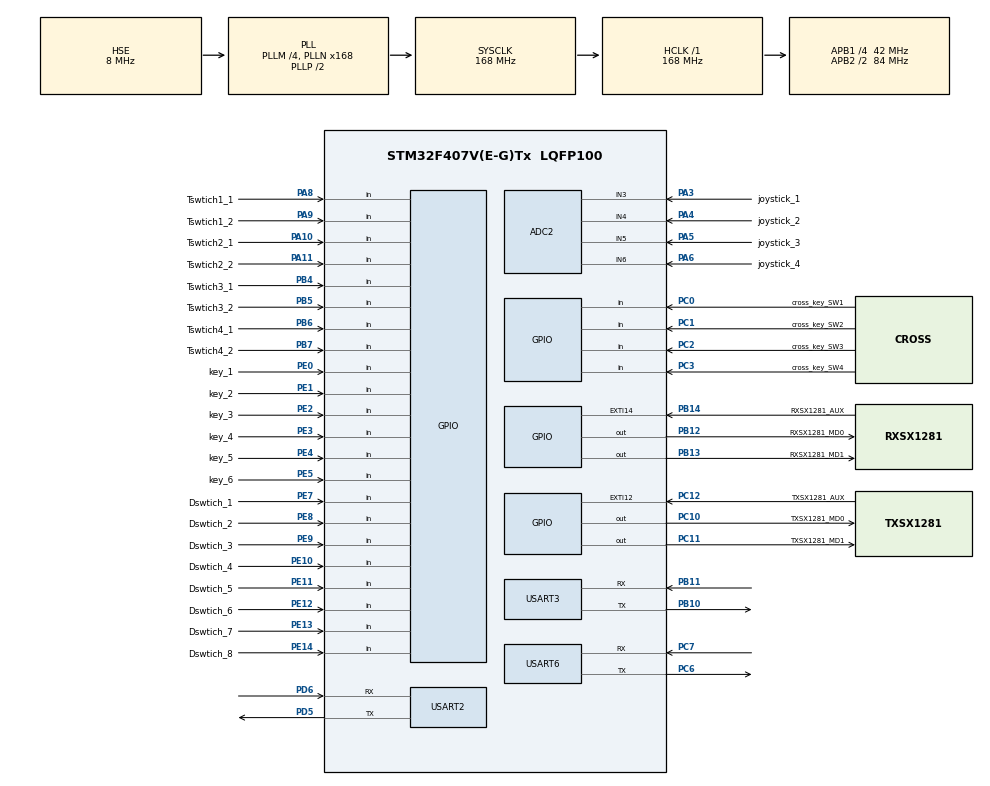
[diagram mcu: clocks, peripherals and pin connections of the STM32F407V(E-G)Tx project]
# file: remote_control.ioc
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ADC2.Channel-1\#ChannelRegularConversion=ADC_CHANNEL_3
ADC2.Channel-2\#ChannelRegularConversion=ADC_CHANNEL_4
ADC2.Channel-3\#ChannelRegularConversion=ADC_CHANNEL_5
ADC2.Channel-4\#ChannelRegularConversion=ADC_CHANNEL_6
ADC2.ClockPrescaler=ADC_CLOCK_SYNC_PCLK_DIV4
ADC2.DMAContinuousRequests=ENABLE
ADC2.ExternalTrigConv=ADC_EXTERNALTRIGCONV_T3_TRGO
ADC2.NbrOfConversion=4
ADC2.NbrOfConversionFlag=1
ADC2.Rank-1\#ChannelRegularConversion=1
ADC2.Rank-2\#ChannelRegularConversion=2
ADC2.Rank-3\#ChannelRegularConversion=3
ADC2.Rank-4\#ChannelRegularConversion=4
ADC2.SamplingTime-1\#ChannelRegularConversion=ADC_SAMPLETIME_56CYCLES
ADC2.SamplingTime-2\#ChannelRegularConversion=ADC_SAMPLETIME_56CYCLES
ADC2.SamplingTime-3\#ChannelRegularConversion=ADC_SAMPLETIME_56CYCLES
ADC2.SamplingTime-4\#ChannelRegularConversion=ADC_SAMPLETIME_56CYCLES
ADC2.ScanConvMode=ENABLE
Dma.ADC2.4.Direction=DMA_PERIPH_TO_MEMORY
Dma.ADC2.4.FIFOMode=DMA_FIFOMODE_DISABLE
Dma.ADC2.4.Instance=DMA2_Stream2
Dma.ADC2.4.MemDataAlignment=DMA_MDATAALIGN_HALFWORD
Dma.ADC2.4.MemInc=DMA_MINC_ENABLE
Dma.ADC2.4.Mode=DMA_CIRCULAR
Dma.ADC2.4.PeriphDataAlignment=DMA_PDATAALIGN_HALFWORD
Dma.ADC2.4.PeriphInc=DMA_PINC_DISABLE
Dma.ADC2.4.Priority=DMA_PRIORITY_LOW
Dma.Request0=USART2_RX
Dma.Request1=USART2_TX
Dma.Request2=USART3_RX
Dma.Request3=USART3_TX
Dma.Request4=ADC2
Dma.Request5=USART6_RX
Dma.Request6=USART6_TX
Dma.USART2_RX.0.Direction=DMA_PERIPH_TO_MEMORY
Dma.USART2_RX.0.FIFOMode=DMA_FIFOMODE_DISABLE
Dma.USART2_RX.0.Instance=DMA1_Stream5
Dma.USART2_RX.0.MemDataAlignment=DMA_MDATAALIGN_BYTE
Dma.USART2_RX.0.MemInc=DMA_MINC_ENABLE
Dma.USART2_RX.0.Mode=DMA_NORMAL
Dma.USART2_RX.0.PeriphDataAlignment=DMA_PDATAALIGN_BYTE
Dma.USART2_RX.0.PeriphInc=DMA_PINC_DISABLE
Dma.USART2_RX.0.Priority=DMA_PRIORITY_LOW
Dma.USART2_TX.1.Direction=DMA_MEMORY_TO_PERIPH
Dma.USART2_TX.1.FIFOMode=DMA_FIFOMODE_DISABLE
Dma.USART2_TX.1.Instance=DMA1_Stream6
Dma.USART2_TX.1.MemDataAlignment=DMA_MDATAALIGN_BYTE
Dma.USART2_TX.1.MemInc=DMA_MINC_ENABLE
Dma.USART2_TX.1.Mode=DMA_NORMAL
Dma.USART2_TX.1.PeriphDataAlignment=DMA_PDATAALIGN_BYTE
Dma.USART2_TX.1.PeriphInc=DMA_PINC_DISABLE
Dma.USART2_TX.1.Priority=DMA_PRIORITY_LOW
Dma.USART3_RX.2.Direction=DMA_PERIPH_TO_MEMORY
Dma.USART3_RX.2.FIFOMode=DMA_FIFOMODE_DISABLE
Dma.USART3_RX.2.Instance=DMA1_Stream1
Dma.USART3_RX.2.MemDataAlignment=DMA_MDATAALIGN_BYTE
Dma.USART3_RX.2.MemInc=DMA_MINC_ENABLE
Dma.USART3_RX.2.Mode=DMA_NORMAL
Dma.USART3_RX.2.PeriphDataAlignment=DMA_PDATAALIGN_BYTE
Dma.USART3_RX.2.PeriphInc=DMA_PINC_DISABLE
Dma.USART3_RX.2.Priority=DMA_PRIORITY_LOW
Dma.USART3_TX.3.Direction=DMA_MEMORY_TO_PERIPH
Dma.USART3_TX.3.FIFOMode=DMA_FIFOMODE_DISABLE
Dma.USART3_TX.3.Instance=DMA1_Stream3
Dma.USART3_TX.3.MemDataAlignment=DMA_MDATAALIGN_BYTE
Dma.USART3_TX.3.MemInc=DMA_MINC_ENABLE
Dma.USART3_TX.3.Mode=DMA_NORMAL
Dma.USART3_TX.3.PeriphDataAlignment=DMA_PDATAALIGN_BYTE
Dma.USART3_TX.3.PeriphInc=DMA_PINC_DISABLE
Dma.USART3_TX.3.Priority=DMA_PRIORITY_LOW
Dma.USART6_RX.5.Direction=DMA_PERIPH_TO_MEMORY
Dma.USART6_RX.5.FIFOMode=DMA_FIFOMODE_DISABLE
Dma.USART6_RX.5.Instance=DMA2_Stream1
Dma.USART6_RX.5.MemDataAlignment=DMA_MDATAALIGN_BYTE
Dma.USART6_RX.5.MemInc=DMA_MINC_ENABLE
Dma.USART6_RX.5.Mode=DMA_NORMAL
Dma.USART6_RX.5.PeriphDataAlignment=DMA_PDATAALIGN_BYTE
Dma.USART6_RX.5.PeriphInc=DMA_PINC_DISABLE
Dma.USART6_RX.5.Priority=DMA_PRIORITY_LOW
Dma.USART6_TX.6.Direction=DMA_MEMORY_TO_PERIPH
Dma.USART6_TX.6.FIFOMode=DMA_FIFOMODE_DISABLE
Dma.USART6_TX.6.Instance=DMA2_Stream6
Dma.USART6_TX.6.MemDataAlignment=DMA_MDATAALIGN_BYTE
Dma.USART6_TX.6.MemInc=DMA_MINC_ENABLE
Dma.USART6_TX.6.Mode=DMA_NORMAL
Dma.USART6_TX.6.PeriphDataAlignment=DMA_PDATAALIGN_BYTE
Dma.USART6_TX.6.PeriphInc=DMA_PINC_DISABLE
Dma.USART6_TX.6.Priority=DMA_PRIORITY_LOW
FREERTOS.Tasks01=defaultTask,24,128,StartDefaultTask,Default,NULL,Dynamic,NULL,NULL;Display,8,128,Display_task,Default,NULL,Dynamic,NULL,NULL;Button,8,128,Button_task,Default,NULL,Dynamic,NULL,NULL;RXComunication,8,128,RXComunication_task,Default,NULL,Dynamic,NULL,NULL;TxBufferToDMA,8,128,TxBufferToDMA_task,Default,NULL,Dynamic,NULL,NULL
Mcu.Family=STM32F4
Mcu.Name=STM32F407V(E-G)Tx
Mcu.Package=LQFP100
NVIC.DMA1_Stream1_IRQn=true\:5\:0\:false\:false\:true\:true\:false\:true\:true
NVIC.DMA1_Stream3_IRQn=true\:5\:0\:false\:false\:true\:true\:false\:true\:true
NVIC.DMA1_Stream5_IRQn=true\:5\:0\:false\:false\:true\:true\:false\:true\:true
NVIC.DMA1_Stream6_IRQn=true\:5\:0\:false\:false\:true\:true\:false\:true\:true
NVIC.DMA2_Stream1_IRQn=true\:5\:0\:false\:false\:true\:true\:false\:true\:true
NVIC.DMA2_Stream2_IRQn=true\:5\:0\:false\:false\:true\:true\:false\:true\:true
NVIC.DMA2_Stream6_IRQn=true\:5\:0\:false\:false\:true\:true\:false\:true\:true
NVIC.EXTI15_10_IRQn=true\:5\:0\:false\:false\:true\:true\:true\:true\:true
NVIC.PriorityGroup=NVIC_PRIORITYGROUP_4
NVIC.TIM1_UP_TIM10_IRQn=true\:5\:0\:false\:false\:true\:true\:true\:true\:true
NVIC.TIM2_IRQn=true\:15\:0\:false\:false\:true\:false\:false\:true\:true
NVIC.TimeBase=TIM2_IRQn
NVIC.TimeBaseIP=TIM2
NVIC.USART2_IRQn=true\:5\:0\:false\:false\:true\:true\:false\:true\:true
NVIC.USART3_IRQn=true\:5\:0\:false\:false\:true\:true\:false\:true\:true
NVIC.USART6_IRQn=true\:5\:0\:false\:false\:true\:true\:true\:true\:true
PA10.GPIO_Label=Tswtich2_1
PA10.GPIO_PuPd=GPIO_PULLDOWN
PA10.Signal=GPIO_Input
PA11.GPIO_Label=Tswtich2_2
PA11.GPIO_PuPd=GPIO_PULLDOWN
PA11.Signal=GPIO_Input
PA13.Mode=Serial_Wire
PA13.Signal=SYS_JTMS-SWDIO
PA14.Mode=Serial_Wire
PA14.Signal=SYS_JTCK-SWCLK
PA3.GPIO_Label=joystick_1
PA3.Signal=ADCx_IN3
PA4.GPIO_Label=joystick_2
PA4.Signal=ADCx_IN4
PA5.GPIO_Label=joystick_3
PA5.Signal=ADCx_IN5
PA6.GPIO_Label=joystick_4
PA6.Signal=ADCx_IN6
PA8.GPIO_Label=Tswtich1_1
PA8.GPIO_PuPd=GPIO_PULLDOWN
PA8.Signal=GPIO_Input
PA9.GPIO_Label=Tswtich1_2
PA9.GPIO_PuPd=GPIO_PULLDOWN
PA9.Signal=GPIO_Input
PB10.Mode=Asynchronous
PB10.Signal=USART3_TX
PB11.Mode=Asynchronous
PB11.Signal=USART3_RX
PB12.GPIO_Label=RXSX1281_MD0
PB12.Signal=GPIO_Output
PB13.GPIO_Label=RXSX1281_MD1
PB13.Signal=GPIO_Output
PB14.GPIO_Label=RXSX1281_AUX
PB14.GPIO_PuPd=GPIO_PULLDOWN
PB14.Signal=GPXTI14
PB4.GPIO_Label=Tswtich3_1
PB4.GPIO_PuPd=GPIO_PULLDOWN
PB4.Signal=GPIO_Input
PB5.GPIO_Label=Tswtich3_2
PB5.GPIO_PuPd=GPIO_PULLDOWN
PB5.Signal=GPIO_Input
PB6.GPIO_Label=Tswtich4_1
PB6.GPIO_PuPd=GPIO_PULLDOWN
PB6.Signal=GPIO_Input
PB7.GPIO_Label=Tswtich4_2
PB7.GPIO_PuPd=GPIO_PULLDOWN
PB7.Signal=GPIO_Input
PC0.GPIO_Label=cross_key_SW1
PC0.GPIO_PuPd=GPIO_PULLUP
PC0.Signal=GPIO_Input
PC1.GPIO_Label=cross_key_SW2
PC1.GPIO_PuPd=GPIO_PULLUP
PC1.Signal=GPIO_Input
PC10.GPIO_Label=TXSX1281_MD0
PC10.Signal=GPIO_Output
PC11.GPIO_Label=TXSX1281_MD1
PC11.Signal=GPIO_Output
PC12.GPIO_Label=TXSX1281_AUX
PC12.GPIO_PuPd=GPIO_PULLDOWN
PC12.Signal=GPXTI12
PC2.GPIO_Label=cross_key_SW3
PC2.GPIO_PuPd=GPIO_PULLUP
PC2.Signal=GPIO_Input
PC3.GPIO_Label=cross_key_SW4
PC3.GPIO_PuPd=GPIO_PULLUP
PC3.Signal=GPIO_Input
PC6.Mode=Asynchronous
PC6.Signal=USART6_TX
PC7.Mode=Asynchronous
PC7.Signal=USART6_RX
PD5.Mode=Asynchronous
PD5.Signal=USART2_TX
PD6.Mode=Asynchronous
PD6.Signal=USART2_RX
PE0.GPIO_Label=key_1
PE0.GPIO_PuPd=GPIO_PULLDOWN
PE0.Signal=GPIO_Input
PE1.GPIO_Label=key_2
PE1.GPIO_PuPd=GPIO_PULLDOWN
PE1.Signal=GPIO_Input
PE10.GPIO_Label=Dswtich_4
PE10.GPIO_PuPd=GPIO_PULLDOWN
PE10.Signal=GPIO_Input
PE11.GPIO_Label=Dswtich_5
PE11.GPIO_PuPd=GPIO_PULLDOWN
PE11.Signal=GPIO_Input
PE12.GPIO_Label=Dswtich_6
PE12.GPIO_PuPd=GPIO_PULLDOWN
PE12.Signal=GPIO_Input
PE13.GPIO_Label=Dswtich_7
PE13.GPIO_PuPd=GPIO_PULLDOWN
PE13.Signal=GPIO_Input
PE14.GPIO_Label=Dswtich_8
PE14.GPIO_PuPd=GPIO_PULLDOWN
PE14.Signal=GPIO_Input
PE2.GPIO_Label=key_3
PE2.Signal=GPIO_Input
PE3.GPIO_Label=key_4
PE3.Signal=GPIO_Input
PE4.GPIO_Label=key_5
PE4.Signal=GPIO_Input
PE5.GPIO_Label=key_6
PE5.Signal=GPIO_Input
PE7.GPIO_Label=Dswtich_1
PE7.GPIO_PuPd=GPIO_PULLDOWN
PE7.Signal=GPIO_Input
PE8.GPIO_Label=Dswtich_2
PE8.GPIO_PuPd=GPIO_PULLDOWN
PE8.Signal=GPIO_Input
PE9.GPIO_Label=Dswtich_3
PE9.GPIO_PuPd=GPIO_PULLDOWN
PE9.Signal=GPIO_Input
PH0-OSC_IN.Mode=HSE-External-Oscillator
PH0-OSC_IN.Signal=RCC_OSC_IN
PH1-OSC_OUT.Mode=HSE-External-Oscillator
PH1-OSC_OUT.Signal=RCC_OSC_OUT
ProjectManager.HeapSize=0x200
ProjectManager.StackSize=0x400
ProjectManager.TargetToolchain=MDK-ARM V5.32
RCC.48MHZClocksFreq_Value=84000000
RCC.AHBFreq_Value=168000000
RCC.APB1CLKDivider=RCC_HCLK_DIV4
RCC.APB1Freq_Value=42000000
RCC.APB1TimFreq_Value=84000000
RCC.APB2CLKDivider=RCC_HCLK_DIV2
RCC.APB2Freq_Value=84000000
RCC.APB2TimFreq_Value=168000000
RCC.CortexFreq_Value=168000000
RCC.HCLKFreq_Value=168000000
RCC.HSE_VALUE=8000000
RCC.HSI_VALUE=16000000
RCC.LSE_VALUE=32768
RCC.PLLM=4
RCC.PLLN=168
RCC.PLLSourceVirtual=RCC_PLLSOURCE_HSE
RCC.SYSCLKFreq_VALUE=168000000
RCC.SYSCLKSource=RCC_SYSCLKSOURCE_PLLCLK
RCC.VCOOutputFreq_Value=336000000
SH.ADCx_IN3.0=ADC2_IN3,IN3
SH.ADCx_IN4.0=ADC2_IN4,IN4
SH.ADCx_IN5.0=ADC2_IN5,IN5
SH.ADCx_IN6.0=ADC2_IN6,IN6
TIM1.Period=200-1
TIM1.Prescaler=16800-1
TIM3.Channel-PWM\ Generation4\ No\ Output=TIM_CHANNEL_4
TIM3.TIM_MasterOutputTrigger=TIM_TRGO_UPDATE
USART2.VirtualMode=VM_ASYNC
USART3.VirtualMode=VM_ASYNC
USART6.VirtualMode=VM_ASYNC
VP_FREERTOS_VS_CMSIS_V2.Mode=CMSIS_V2
VP_SYS_VS_tim2.Mode=TIM2
VP_TIM1_VS_ClockSourceINT.Mode=Internal
VP_TIM3_VS_no_output4.Mode=PWM Generation4 No Output
board=custom

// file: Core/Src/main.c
/* USER CODE BEGIN Header */
/**
  ******************************************************************************
  * @file           : main.c
  * @brief          : Main program body
  ******************************************************************************
  * @attention
  *
  * Copyright (c) 2026 STMicroelectronics.
  * All rights reserved.
  *
  * This software is licensed under terms that can be found in the LICENSE file
  * in the root directory of this software component.
  * If no LICENSE file comes with this software, it is provided AS-IS.
  *
  ******************************************************************************
  */
/* USER CODE END Header */
#include "main.h"
#include "cmsis_os.h"
#include "adc.h"
#include "dma.h"
#include "tim.h"
#include "usart.h"
#include "gpio.h"

/* USER CODE BEGIN Includes */
#include "communication.h"
#include "joystick.h"
#include "adc_switch.h"
#include "tjc_huart_hmi.h"
/* USER CODE END Includes */

void SystemClock_Config(void);
void MX_FREERTOS_Init(void);

int main(void)
{

  /* MCU Configuration--------------------------------------------------------*/

  /* Reset of all peripherals, Initializes the Flash interface and the Systick. */
  HAL_Init();

  /* Configure the system clock */
  SystemClock_Config();

  /* Initialize all configured peripherals */
  MX_GPIO_Init();
  MX_DMA_Init();
  MX_TIM1_Init();
  MX_USART2_UART_Init();
  MX_USART3_UART_Init();
  MX_ADC2_Init();
  MX_TIM3_Init();
  MX_USART6_UART_Init();
  /* USER CODE BEGIN 2 */
	HAL_TIM_Base_Start_IT(&htim1);
  /* USER CODE END 2 */

  /* Init scheduler */
  osKernelInitialize();  /* Call init function for freertos objects (in cmsis_os2.c) */
  MX_FREERTOS_Init();

  /* Start scheduler */
  osKernelStart();

  /* We should never get here as control is now taken by the scheduler */

  /* Infinite loop */
  while (1)
  {

  }
}

void SystemClock_Config(void)
{
  RCC_OscInitTypeDef RCC_OscInitStruct = {0};
  RCC_ClkInitTypeDef RCC_ClkInitStruct = {0};

  /** Configure the main internal regulator output voltage
  */
  __HAL_RCC_PWR_CLK_ENABLE();
  __HAL_PWR_VOLTAGESCALING_CONFIG(PWR_REGULATOR_VOLTAGE_SCALE1);

  /** Initializes the RCC Oscillators according to the specified parameters
  * in the RCC_OscInitTypeDef structure.
  */
  RCC_OscInitStruct.OscillatorType = RCC_OSCILLATORTYPE_HSE;
  RCC_OscInitStruct.HSEState = RCC_HSE_ON;
  RCC_OscInitStruct.PLL.PLLState = RCC_PLL_ON;
  RCC_OscInitStruct.PLL.PLLSource = RCC_PLLSOURCE_HSE;
  RCC_OscInitStruct.PLL.PLLM = 4;
  RCC_OscInitStruct.PLL.PLLN = 168;
  RCC_OscInitStruct.PLL.PLLP = RCC_PLLP_DIV2;
  RCC_OscInitStruct.PLL.PLLQ = 4;
  if (HAL_RCC_OscConfig(&RCC_OscInitStruct) != HAL_OK)
  {
    Error_Handler();
  }

  /** Initializes the CPU, AHB and APB buses clocks
  */
  RCC_ClkInitStruct.ClockType = RCC_CLOCKTYPE_HCLK|RCC_CLOCKTYPE_SYSCLK
                              |RCC_CLOCKTYPE_PCLK1|RCC_CLOCKTYPE_PCLK2;
  RCC_ClkInitStruct.SYSCLKSource = RCC_SYSCLKSOURCE_PLLCLK;
  RCC_ClkInitStruct.AHBCLKDivider = RCC_SYSCLK_DIV1;
  RCC_ClkInitStruct.APB1CLKDivider = RCC_HCLK_DIV4;
  RCC_ClkInitStruct.APB2CLKDivider = RCC_HCLK_DIV2;

  if (HAL_RCC_ClockConfig(&RCC_ClkInitStruct, FLASH_LATENCY_5) != HAL_OK)
  {
    Error_Handler();
  }
}

/* USER CODE BEGIN 4 */
void HAL_UARTEx_RxEventCallback(UART_HandleTypeDef *huart, uint16_t size)
{
    Comm_UartRx_Callback_Wrapper(huart, size);
    HMI_UartRx_Callback_Wrapper(huart, size);

}

void HAL_UART_ErrorCallback(UART_HandleTypeDef *huart)
{
    Comm_UartError_Callback_Wrapper(huart);
    HMI_UartError_Callback_Wrapper(huart);

}

void HAL_UART_TxCpltCallback(UART_HandleTypeDef *huart)
{
    HMI_UartTxCplt_Callback_Wrapper(huart);
}

void HAL_ADC_ConvCpltCallback(ADC_HandleTypeDef* hadc)
{
    JOY_AdcConvCplt_Callback_Wrapper(hadc);
    KEY_AdcConvCplt_Callback_Wrapper(hadc);
}

extern osThreadId_t TxBufferToDMAHandle;

// 在外部或者文件上方定义全局变量以便用调试器查看
volatile uint32_t rf_tx_cnt = 0;
volatile uint32_t rf_last_tx_cyccnt = 0;
volatile uint32_t rf_tx_interval_us = 0;

void HAL_GPIO_EXTI_Callback(uint16_t GPIO_Pin)
{
    if(GPIO_Pin == TXSX1281_AUX_Pin)
    {
        // if(HAL_GPIO_ReadPin(GPIOC, GPIO_PIN_12) == GPIO_PIN_SET)

        rf_tx_cnt++;
        //先拿当前拍数
        uint32_t current_cyccnt = DWT->CYCCNT;
        // 凭借无符号数减法的特性，即使 current 折返归零了，减去 last_tx 依然是准确的差值跑过的拍数！
        rf_tx_interval_us = (current_cyccnt - rf_last_tx_cyccnt) / 168;

        // 更新上一拍
        rf_last_tx_cyccnt = current_cyccnt;

        BaseType_t xHigherPriorityTaskWoken = pdFALSE;

        vTaskNotifyGiveFromISR( (TaskHandle_t)TxBufferToDMAHandle, &xHigherPriorityTaskWoken );

        portYIELD_FROM_ISR(xHigherPriorityTaskWoken);
    }
}
/* USER CODE END 4 */

void HAL_TIM_PeriodElapsedCallback(TIM_HandleTypeDef *htim)
{
  if (htim->Instance == TIM2)
  {
    HAL_IncTick();
  }
  /* USER CODE BEGIN Callback 1 */
  else if (htim->Instance == TIM1)
  {
    Comm_Timer_Callback_Wrapper();
  }
  /* USER CODE END Callback 1 */
}

void Error_Handler(void)
{
  __disable_irq();
  while (1)
  {
  }
}
